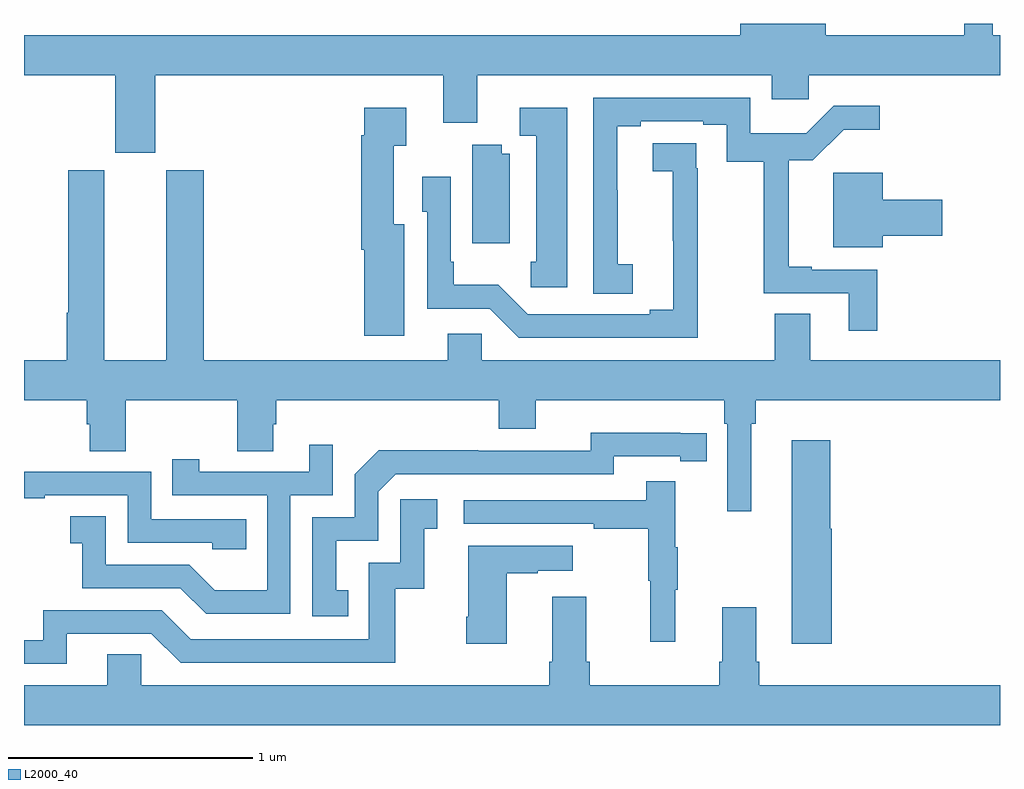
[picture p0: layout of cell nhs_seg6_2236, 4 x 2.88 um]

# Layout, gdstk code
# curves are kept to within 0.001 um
import gdstk
lib = gdstk.Library(unit=1e-6, precision=1e-09)
def P(c, l, *ps):  # polygons
    for p in ps: c.add(gdstk.Polygon(p, *l))
L2000_40 = (2000, 40)

nhs_seg6_2236 = lib.new_cell('nhs_seg6_2236')
P(nhs_seg6_2236, L2000_40, [(243.538,995.288),(244.718,995.288),(244.718,995.094),(244.858,995.094),(244.858,995.288),(246.065,995.288),(246.065,995.19),(246.217,995.19),(246.217,995.288),(247,995.288),(247,995.452),(246.97,995.452),(246.97,995.5),(246.853,995.5),(246.853,995.452),(246.286,995.452),(246.286,995.5),(245.936,995.5),(245.936,995.452),(243,995.452),(243,995.288),(243.374,995.288),(243.374,994.971),(243.538,994.971)],
  [(246.497,994.491),(246.229,994.491),(246.229,994.504),(246.134,994.504),(246.134,994.941),(246.233,994.941),(246.359,995.066),(246.508,995.066),(246.508,995.163),(246.318,995.163),(246.205,995.05),(245.976,995.05),(245.976,995.196),(245.334,995.196),(245.334,994.393),(245.494,994.393),(245.494,994.513),(245.433,994.513),(245.433,994.817),(245.431,994.817),(245.431,995.08),(245.527,995.08),(245.527,995.1),(245.783,995.1),(245.783,995.086),(245.88,995.086),(245.88,994.933),(246.031,994.933),(246.031,994.395),(246.38,994.395),(246.38,994.242),(246.497,994.242)],
  [(244.558,994.678),(244.516,994.678),(244.516,994.999),(244.567,994.999),(244.567,995.155),(244.394,995.155),(244.394,995.042),(244.382,995.042),(244.382,994.574),(244.394,994.574),(244.394,994.221),(244.558,994.221)],
  [(245.227,995.155),(245.031,995.155),(245.031,995.04),(245.099,995.04),(245.099,994.524),(245.077,994.524),(245.077,994.419),(245.227,994.419)],
  [(245.762,994.907),(245.756,994.907),(245.756,995.009),(245.577,995.009),(245.577,994.894),(245.659,994.894),(245.66,994.328),(245.564,994.328),(245.564,994.308),(245.064,994.308),(244.943,994.429),(244.762,994.429),(244.762,994.525),(244.749,994.525),(244.749,994.873),(244.632,994.873),(244.632,994.728),(244.653,994.728),(244.653,994.332),(244.908,994.332),(245.028,994.212),(245.762,994.212)],
  [(244.99,994.966),(244.958,994.966),(244.958,995.003),(244.838,995.003),(244.838,994.599),(244.99,994.599)],
  [(243.181,994.316),(243.176,994.316),(243.176,994.12),(243,994.12),(243,993.956),(243.257,993.956),(243.257,993.858),(243.269,993.858),(243.269,993.748),(243.417,993.748),(243.417,993.956),(243.874,993.956),(243.874,993.748),(244.021,993.748),(244.021,993.858),(244.034,993.858),(244.034,993.956),(244.946,993.956),(244.946,993.839),(245.098,993.839),(245.098,993.956),(245.87,993.956),(245.87,993.86),(245.883,993.86),(245.883,993.501),(245.98,993.501),(245.98,993.86),(245.999,993.86),(245.999,993.956),(247,993.956),(247,994.12),(246.223,994.12),(246.223,994.31),(246.076,994.31),(246.076,994.12),(244.875,994.12),(244.875,994.23),(244.736,994.23),(244.736,994.12),(243.737,994.12),(243.737,994.899),(243.584,994.899),(243.584,994.12),(243.328,994.12),(243.328,994.899),(243.181,994.899)],
  [(246.52,994.631),(246.763,994.631),(246.763,994.778),(246.52,994.778),(246.52,994.888),(246.317,994.888),(246.317,994.583),(246.52,994.583)],
  [(244.328,993.177),(244.279,993.177),(244.279,993.381),(244.452,993.381),(244.452,993.582),(244.524,993.654),(245.418,993.654),(245.418,993.726),(245.69,993.726),(245.69,993.706),(245.798,993.706),(245.798,993.822),(245.322,993.823),(245.322,993.75),(244.862,993.75),(244.862,993.752),(244.454,993.752),(244.356,993.654),(244.356,993.477),(244.182,993.477),(244.182,993.072),(244.328,993.072)],
  [(246.31,993.429),(246.305,993.429),(246.305,993.793),(246.146,993.793),(246.146,992.958),(246.31,992.958)],
  [(244.092,993.567),(244.266,993.567),(244.266,993.775),(244.169,993.775),(244.169,993.663),(243.718,993.663),(243.718,993.715),(243.607,993.715),(243.607,993.567),(243.996,993.567),(243.996,993.178),(243.782,993.178),(243.678,993.282),(243.336,993.282),(243.336,993.481),(243.189,993.481),(243.189,993.371),(243.238,993.371),(243.238,993.186),(243.641,993.186),(243.746,993.081),(244.092,993.081)],
  [(243.911,993.468),(243.522,993.468),(243.522,993.663),(243,993.663),(243,993.555),(243.085,993.555),(243.085,993.567),(243.426,993.567),(243.426,993.372),(243.771,993.372),(243.771,993.345),(243.911,993.345)],
  [(245.669,993.179),(245.68,993.179),(245.68,993.353),(245.669,993.353),(245.669,993.625),(245.551,993.625),(245.551,993.546),(244.803,993.546),(244.803,993.45),(245.335,993.45),(245.335,993.43),(245.559,993.43),(245.559,993.216),(245.566,993.216),(245.566,992.967),(245.669,992.967)],
  [(243.175,993),(243.522,993),(243.642,992.88),(244.522,992.88),(244.522,993.183),(244.64,993.183),(244.64,993.429),(244.693,993.429),(244.693,993.55),(244.542,993.55),(244.542,993.291),(244.413,993.291),(244.413,992.976),(243.684,992.976),(243.564,993.096),(243.078,993.096),(243.078,992.973),(243,992.973),(243,992.877),(243.175,992.877)],
  [(244.978,993.247),(245.105,993.247),(245.105,993.257),(245.248,993.257),(245.248,993.361),(244.82,993.361),(244.82,993.07),(244.813,993.07),(244.813,992.958),(244.978,992.958)],
  [(247,992.788),(246.014,992.788),(246.014,992.884),(246.001,992.884),(246.001,993.109),(245.861,993.109),(245.861,992.884),(245.849,992.884),(245.849,992.788),(245.318,992.788),(245.318,992.884),(245.305,992.884),(245.305,993.151),(245.165,993.151),(245.165,992.884),(245.153,992.884),(245.153,992.788),(243.48,992.788),(243.48,992.915),(243.341,992.915),(243.341,992.788),(243,992.788),(243,992.624),(247,992.624)])

lib.write_gds('nhs_seg6_2236.gds')
